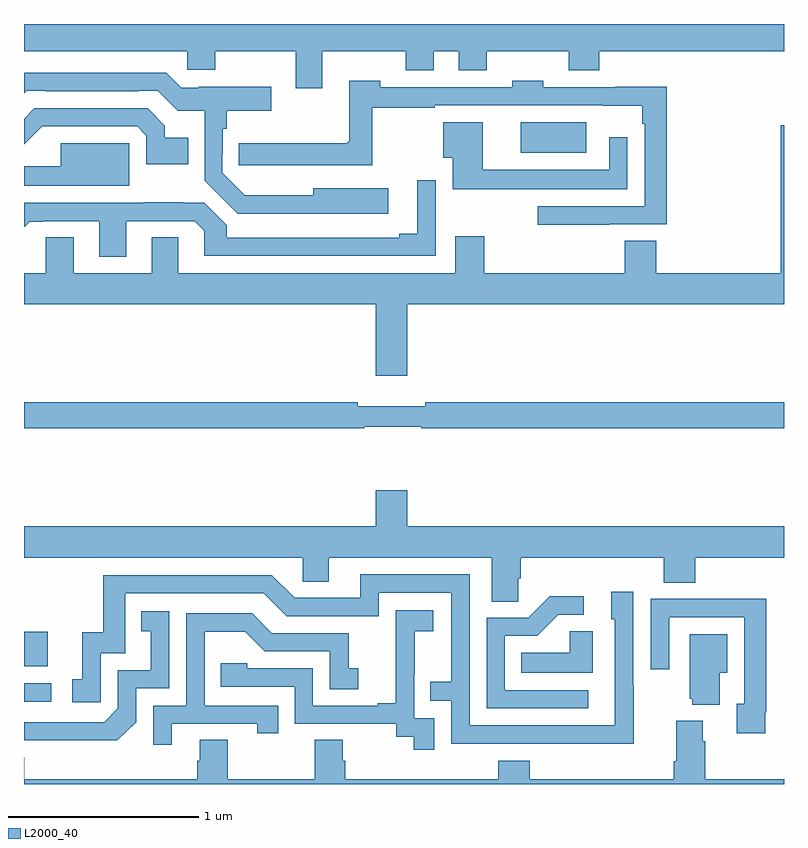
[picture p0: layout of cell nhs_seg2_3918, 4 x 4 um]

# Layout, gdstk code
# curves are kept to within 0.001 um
import gdstk
lib = gdstk.Library(unit=1e-6, precision=1e-09)
def R(c, l, rs):  # rectangles x0, y0, x1, y1
    for r in rs: c.add(gdstk.rectangle(r[:2], r[2:], *l))
def P(c, l, *ps):  # polygons
    for p in ps: c.add(gdstk.Polygon(p, *l))
L2000_40 = (2000, 40)

nhs_seg2_3918 = lib.new_cell('nhs_seg2_3918')
R(nhs_seg2_3918, L2000_40, [(319,624.234,319.144,624.33), (319,624.419,319.126,624.601), (321.615,627.122,321.958,627.283)])
P(nhs_seg2_3918, L2000_40, [(320.569,627.656),(321.01,627.656),(321.01,627.557),(321.157,627.557),(321.157,627.656),(321.287,627.656),(321.287,627.557),(321.435,627.557),(321.435,627.656),(321.868,627.656),(321.868,627.557),(322.028,627.557),(322.028,627.656),(323,627.656),(323,627.8),(319,627.8),(319,627.656),(319.86,627.656),(319.86,627.558),(320.007,627.558),(320.007,627.656),(320.429,627.656),(320.429,627.462),(320.569,627.462)],
  [(320.917,626.935),(320.522,626.935),(320.522,626.899),(320.163,626.899),(320.043,627.018),(320.043,627.118),(320.046,627.118),(320.046,627.248),(320.066,627.248),(320.066,627.344),(320.302,627.344),(320.302,627.469),(319.921,627.469),(319.921,627.465),(319.827,627.465),(319.748,627.544),(319,627.544),(319,627.436),(319.014,627.45),(319.114,627.45),(319.114,627.447),(319.604,627.447),(319.604,627.45),(319.704,627.45),(319.81,627.344),(319.95,627.344),(319.95,626.976),(320.125,626.801),(320.917,626.801)],
  [(322.079,626.745),(322.382,626.745),(322.382,627.47),(322.111,627.47),(322.111,627.468),(321.734,627.468),(321.734,627.502),(321.569,627.502),(321.569,627.468),(320.876,627.468),(320.876,627.502),(320.712,627.502),(320.712,627.18),(320.704,627.18),(320.704,627.172),(320.131,627.172),(320.131,627.056),(320.833,627.056),(320.833,627.36),(321.161,627.36),(321.161,627.372),(322.045,627.372),(322.045,627.371),(322.254,627.371),(322.254,627.275),(322.266,627.275),(322.266,626.841),(321.705,626.841),(321.705,626.743),(322.079,626.743)],
  [(319.865,627.202),(319.742,627.202),(319.742,627.265),(319.65,627.357),(319.055,627.357),(319,627.302),(319,627.166),(319.095,627.261),(319.596,627.261),(319.644,627.213),(319.644,627.062),(319.865,627.062)],
  [(322.176,627.205),(322.08,627.205),(322.08,627.034),(321.415,627.034),(321.415,627.283),(321.206,627.283),(321.206,627.097),(321.257,627.097),(321.257,626.93),(322.176,626.93)],
  [(321.016,626.324),(323,626.324),(323,627.268),(322.982,627.268),(322.982,626.488),(322.328,626.488),(322.328,626.66),(322.163,626.66),(322.163,626.488),(321.422,626.488),(321.422,626.683),(321.269,626.683),(321.269,626.488),(319.813,626.488),(319.813,626.678),(319.673,626.678),(319.673,626.488),(319.261,626.488),(319.261,626.678),(319.114,626.678),(319.114,626.488),(319,626.488),(319,626.324),(320.852,626.324),(320.852,625.95),(321.016,625.95)],
  [(319.555,627.172),(319.193,627.172),(319.193,627.052),(319,627.052),(319,626.948),(319.555,626.948)],
  [(319.537,626.763),(319.899,626.763),(319.949,626.713),(319.949,626.58),(321.168,626.58),(321.168,626.977),(321.071,626.977),(321.071,626.696),(320.975,626.696),(320.975,626.676),(320.066,626.676),(320.066,626.74),(319.948,626.858),(319.838,626.858),(319.838,626.861),(319.633,626.861),(319.633,626.859),(319,626.859),(319,626.732),(319.003,626.732),(319.029,626.758),(319.099,626.758),(319.099,626.763),(319.397,626.763),(319.397,626.574),(319.537,626.574)],
  [(320.792,625.68),(321.092,625.68),(321.092,625.672),(323,625.672),(323,625.808),(321.112,625.808),(321.112,625.789),(320.756,625.789),(320.756,625.808),(319,625.808),(319,625.672),(320.792,625.672)],
  [(321.6,624.883),(321.614,624.883),(321.614,624.992),(322.367,624.992),(322.367,624.859),(322.532,624.859),(322.532,624.992),(323,624.992),(323,625.156),(321.016,625.156),(321.016,625.345),(320.852,625.345),(320.852,625.156),(319,625.156),(319,624.992),(320.466,624.992),(320.466,624.865),(320.605,624.865),(320.605,624.992),(321.461,624.992),(321.461,624.76),(321.6,624.76)],
  [(322.209,624.317),(322.206,624.317),(322.206,624.811),(322.091,624.811),(322.091,624.666),(322.11,624.666),(322.11,624.108),(321.345,624.108),(321.345,624.903),(320.771,624.903),(320.771,624.78),(320.424,624.78),(320.304,624.9),(319.417,624.9),(319.417,624.598),(319.307,624.598),(319.307,624.351),(319.254,624.351),(319.254,624.231),(319.404,624.231),(319.404,624.489),(319.533,624.489),(319.533,624.804),(320.262,624.804),(320.382,624.684),(320.868,624.684),(320.868,624.807),(321.249,624.807),(321.249,624.338),(321.139,624.338),(321.139,624.237),(321.249,624.237),(321.249,624.012),(322.209,624.011)],
  [(321.97,624.294),(321.531,624.294),(321.531,624.579),(321.7,624.579),(321.811,624.69),(321.946,624.69),(321.946,624.788),(321.767,624.788),(321.654,624.675),(321.435,624.675),(321.435,624.198),(321.97,624.198)],
  [(322.9,624.178),(322.907,624.178),(322.907,624.776),(322.615,624.776),(322.615,624.774),(322.299,624.774),(322.299,624.405),(322.395,624.405),(322.395,624.678),(322.791,624.678),(322.791,624.222),(322.751,624.222),(322.751,624.066),(322.9,624.066)],
  [(321.159,624.147),(321.054,624.147),(321.054,624.377),(321.056,624.377),(321.056,624.605),(321.154,624.605),(321.154,624.715),(320.956,624.715),(320.956,624.509),(320.957,624.509),(320.957,624.226),(320.861,624.226),(320.861,624.213),(320.52,624.213),(320.52,624.408),(320.175,624.408),(320.175,624.435),(320.035,624.435),(320.035,624.312),(320.424,624.312),(320.424,624.117),(320.958,624.117),(320.958,624.049),(321.051,624.049),(321.051,623.979),(321.159,623.979)],
  [(319.59,624.126),(319.59,624.303),(319.764,624.303),(319.764,624.709),(319.618,624.709),(319.618,624.603),(319.667,624.603),(319.667,624.399),(319.494,624.399),(319.494,624.198),(319.422,624.126),(319,624.126),(319,624.03),(319.084,624.029),(319.492,624.029)],
  [(319.777,624.117),(320.228,624.117),(320.228,624.066),(320.339,624.066),(320.339,624.213),(319.95,624.213),(319.95,624.602),(320.164,624.602),(320.268,624.498),(320.61,624.498),(320.61,624.3),(320.758,624.3),(320.758,624.409),(320.709,624.409),(320.709,624.594),(320.305,624.594),(320.2,624.699),(319.854,624.699),(319.854,624.213),(319.68,624.213),(319.68,624.006),(319.777,624.006)],
  [(321.994,624.605),(321.873,624.605),(321.873,624.49),(321.616,624.49),(321.616,624.386),(321.994,624.386)],
  [(322.663,624.386),(322.702,624.386),(322.702,624.589),(322.505,624.589),(322.505,624.249),(322.517,624.249),(322.517,624.218),(322.663,624.218)],
  [(323,623.824),(322.586,623.824),(322.586,624.026),(322.573,624.026),(322.573,624.133),(322.433,624.133),(322.433,623.92),(322.421,623.92),(322.421,623.824),(321.662,623.824),(321.662,623.923),(321.497,623.923),(321.497,623.824),(320.69,623.824),(320.69,623.922),(320.677,623.922),(320.677,624.032),(320.53,624.032),(320.53,623.824),(320.073,623.824),(320.073,624.032),(319.925,624.032),(319.925,623.922),(319.913,623.922),(319.913,623.824),(319.001,623.824),(319.001,623.941),(319,623.941),(319,623.8),(323,623.8)])

lib.write_gds('nhs_seg2_3918.gds')
